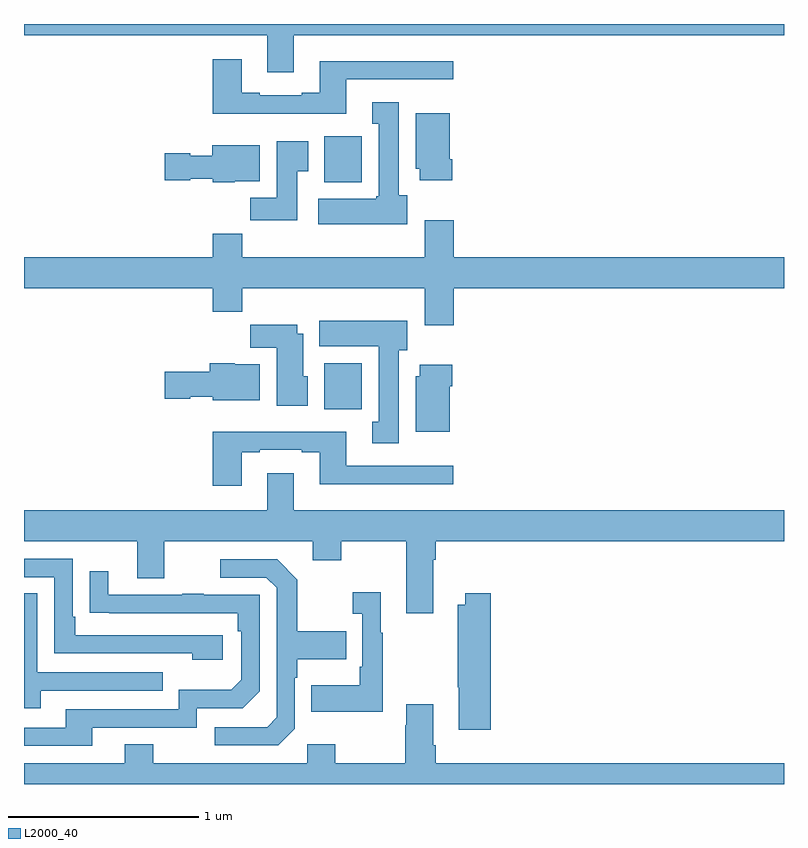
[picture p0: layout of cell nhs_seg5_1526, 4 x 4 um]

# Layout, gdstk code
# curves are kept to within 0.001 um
import gdstk
lib = gdstk.Library(unit=1e-6, precision=1e-09)
def R(c, l, rs):  # rectangles x0, y0, x1, y1
    for r in rs: c.add(gdstk.rectangle(r[:2], r[2:], *l))
def P(c, l, *ps):  # polygons
    for p in ps: c.add(gdstk.Polygon(p, *l))
L2000_40 = (2000, 40)

nhs_seg5_1526 = lib.new_cell('nhs_seg5_1526')
R(nhs_seg5_1526, L2000_40, [(204.581,874.772,204.778,875.014), (204.581,875.966,204.778,876.208)])
P(nhs_seg5_1526, L2000_40, [(204.421,876.74),(207,876.74),(207,876.799),(203,876.799),(203,876.74),(204.281,876.74),(204.281,876.546),(204.421,876.546)],
  [(204.697,876.507),(205.258,876.507),(205.258,876.604),(204.557,876.604),(204.557,876.436),(204.461,876.436),(204.461,876.423),(204.241,876.423),(204.241,876.436),(204.145,876.436),(204.145,876.613),(203.993,876.613),(203.993,876.326),(204.697,876.326)],
  [(205.018,875.898),(204.973,875.898),(204.973,876.388),(204.833,876.388),(204.833,876.275),(204.866,876.275),(204.866,875.892),(204.853,875.892),(204.853,875.878),(204.549,875.878),(204.549,875.744),(205.018,875.744)],
  [(205.253,876.088),(205.24,876.088),(205.24,876.328),(205.061,876.328),(205.061,876.036),(205.082,876.036),(205.082,875.976),(205.253,875.976)],
  [(204.439,876.025),(204.496,876.025),(204.496,876.181),(204.329,876.181),(204.329,875.884),(204.19,875.884),(204.19,875.766),(204.439,875.766)],
  [(204.108,875.972),(204.241,875.972),(204.241,876.16),(203.99,876.16),(203.99,876.106),(203.874,876.106),(203.874,876.119),(203.742,876.119),(203.742,875.977),(203.874,875.977),(203.874,875.984),(203.994,875.984),(203.994,875.966),(204.108,875.966)],
  [(205.262,875.408),(207,875.408),(207,875.572),(205.262,875.572),(205.262,875.767),(205.109,875.767),(205.109,875.572),(204.149,875.572),(204.149,875.696),(203.993,875.696),(203.993,875.572),(203,875.572),(203,875.408),(203.993,875.408),(203.993,875.284),(204.149,875.284),(204.149,875.408),(205.109,875.408),(205.109,875.214),(205.262,875.214)],
  [(204.973,875.082),(205.018,875.082),(205.018,875.236),(204.554,875.236),(204.554,875.102),(204.866,875.102),(204.866,874.706),(204.833,874.706),(204.833,874.593),(204.973,874.593)],
  [(204.493,874.944),(204.469,874.944),(204.469,875.17),(204.439,875.17),(204.439,875.215),(204.19,875.215),(204.19,875.096),(204.329,875.096),(204.329,874.79),(204.493,874.79)],
  [(204.241,875.008),(204.108,875.008),(204.108,875.014),(203.978,875.014),(203.978,874.968),(203.742,874.968),(203.742,874.826),(203.874,874.826),(203.874,874.838),(203.994,874.838),(203.994,874.82),(204.241,874.82)],
  [(205.24,874.892),(205.253,874.892),(205.253,875.005),(205.082,875.005),(205.082,874.944),(205.061,874.944),(205.061,874.652),(205.24,874.652)],
  [(204.145,874.545),(204.241,874.545),(204.241,874.557),(204.461,874.557),(204.461,874.545),(204.557,874.545),(204.557,874.376),(205.258,874.376),(205.258,874.473),(204.697,874.473),(204.697,874.654),(203.993,874.654),(203.993,874.368),(204.145,874.368)],
  [(205.153,873.98),(205.166,873.98),(205.166,874.076),(207,874.076),(207,874.24),(204.421,874.24),(204.421,874.435),(204.281,874.435),(204.281,874.24),(203,874.24),(203,874.076),(203.597,874.076),(203.597,873.882),(203.737,873.882),(203.737,874.076),(204.521,874.076),(204.521,873.977),(204.669,873.977),(204.669,874.076),(205.013,874.076),(205.013,873.699),(205.153,873.699)],
  [(204.046,873.582),(203.269,873.582),(203.269,873.679),(203.256,873.679),(203.256,873.984),(203,873.984),(203,873.888),(203.16,873.888),(203.16,873.486),(203.885,873.486),(203.885,873.452),(204.046,873.452)],
  [(204.426,873.09),(204.426,873.359),(204.439,873.359),(204.439,873.455),(204.695,873.455),(204.695,873.603),(204.439,873.603),(204.439,873.875),(204.333,873.981),(204.033,873.981),(204.033,873.885),(204.276,873.885),(204.33,873.831),(204.33,873.15),(204.279,873.099),(204.003,873.099),(204.003,873.003),(204.339,873.003)],
  [(203.359,873.096),(203.91,873.096),(203.91,873.198),(204.15,873.198),(204.24,873.288),(204.24,873.795),(203.945,873.795),(203.945,873.8),(203.833,873.8),(203.833,873.795),(203.443,873.795),(203.443,873.919),(203.347,873.919),(203.347,873.7),(204.124,873.699),(204.124,873.602),(204.144,873.602),(204.144,873.348),(204.091,873.295),(203.814,873.295),(203.814,873.192),(203.219,873.192),(203.219,873.096),(203,873.096),(203,873),(203.359,873)],
  [(204.889,873.595),(204.877,873.595),(204.877,873.808),(204.729,873.808),(204.729,873.695),(204.78,873.695),(204.78,873.415),(204.768,873.415),(204.768,873.319),(204.511,873.319),(204.511,873.179),(204.889,873.179)],
  [(203.089,873.291),(203.729,873.291),(203.729,873.387),(203.07,873.387),(203.07,873.803),(203,873.803),(203,873.197),(203.089,873.197)],
  [(205.457,873.802),(205.322,873.802),(205.322,873.742),(205.282,873.742),(205.282,873.307),(205.289,873.307),(205.289,873.084),(205.457,873.084)],
  [(207,872.908),(205.166,872.908),(205.166,873.004),(205.153,873.004),(205.153,873.22),(205.013,873.22),(205.013,873.107),(205.006,873.107),(205.006,872.908),(204.639,872.908),(204.639,873.007),(204.492,873.007),(204.492,872.908),(203.679,872.908),(203.679,873.007),(203.531,873.007),(203.531,872.908),(203,872.908),(203,872.799),(207,872.799)])

lib.write_gds('nhs_seg5_1526.gds')
